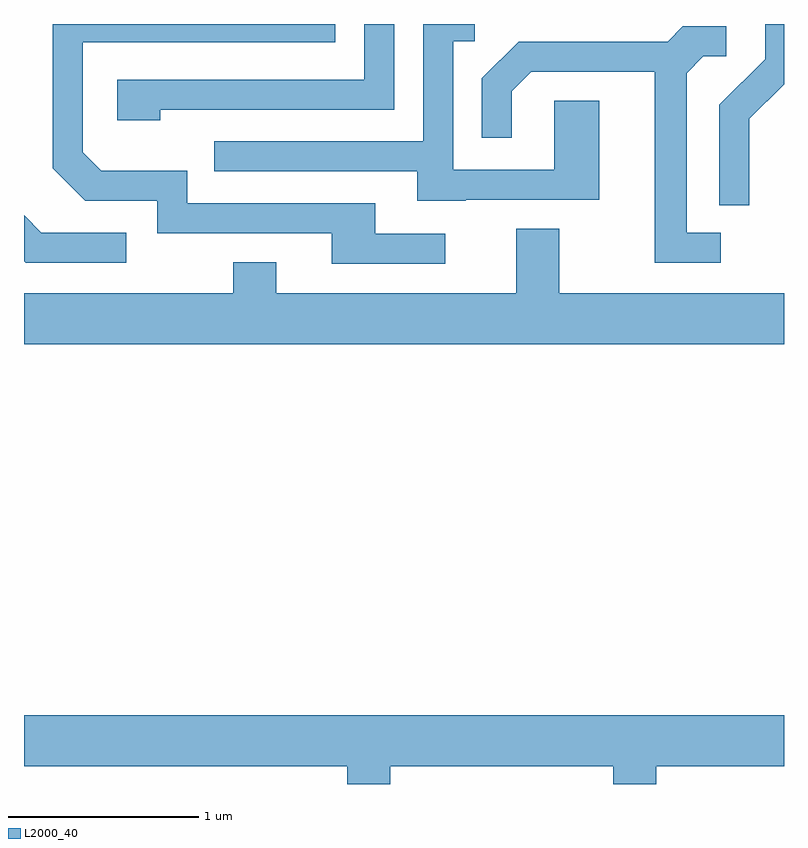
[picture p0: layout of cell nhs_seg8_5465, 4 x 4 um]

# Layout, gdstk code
import gdstk
lib = gdstk.Library(unit=1e-6, precision=1e-09)
def P(c, l, *ps):  # polygons
    for p in ps: c.add(gdstk.Polygon(p, *l))
L2000_40 = (2000, 40)

nhs_seg8_5465 = lib.new_cell('nhs_seg8_5465')
P(nhs_seg8_5465, L2000_40, [(351.828,1819.239),(351.459,1819.239),(351.459,1819.399),(350.469,1819.399),(350.469,1819.569),(350.017,1819.569),(349.919,1819.667),(349.919,1820.246),(351.249,1820.246),(351.249,1820.342),(349.761,1820.342),(349.761,1819.584),(349.934,1819.411),(350.311,1819.411),(350.311,1819.241),(351.231,1819.241),(351.231,1819.081),(351.828,1819.081)],
  [(350.329,1819.891),(351.559,1819.891),(351.559,1820.342),(351.401,1820.342),(351.401,1820.049),(350.101,1820.049),(350.101,1819.836),(350.329,1819.836)],
  [(353.429,1819.844),(353.611,1820.026),(353.611,1820.342),(353.511,1820.342),(353.511,1820.157),(353.271,1819.917),(353.271,1819.388),(353.429,1819.388)],
  [(351.935,1819.416),(352.639,1819.416),(352.639,1819.939),(352.401,1819.939),(352.401,1819.574),(351.869,1819.574),(351.869,1820.251),(351.983,1820.251),(351.983,1820.342),(351.711,1820.342),(351.711,1819.724),(350.613,1819.724),(350.613,1819.566),(351.681,1819.566),(351.681,1819.411),(351.935,1819.411)],
  [(353.278,1819.244),(353.099,1819.244),(353.099,1820.084),(353.187,1820.171),(353.308,1820.171),(353.308,1820.329),(353.079,1820.329),(352.999,1820.249),(352.214,1820.249),(352.021,1820.057),(352.021,1819.743),(352.179,1819.743),(352.179,1819.989),(352.282,1820.091),(352.931,1820.091),(352.931,1819.086),(353.278,1819.086)],
  [(350.148,1819.244),(349.702,1819.244),(349.611,1819.335),(349.611,1819.094),(349.619,1819.086),(350.148,1819.086)],
  [(353.611,1818.924),(352.429,1818.924),(352.429,1819.264),(352.201,1819.264),(352.201,1818.924),(350.939,1818.924),(350.939,1819.089),(350.711,1819.089),(350.711,1818.924),(349.611,1818.924),(349.611,1818.656),(353.611,1818.656)],
  [(351.539,1816.436),(352.711,1816.436),(352.711,1816.342),(352.939,1816.342),(352.939,1816.436),(353.611,1816.436),(353.611,1816.704),(349.611,1816.704),(349.611,1816.436),(351.311,1816.436),(351.311,1816.342),(351.539,1816.342)])

lib.write_gds('nhs_seg8_5465.gds')
